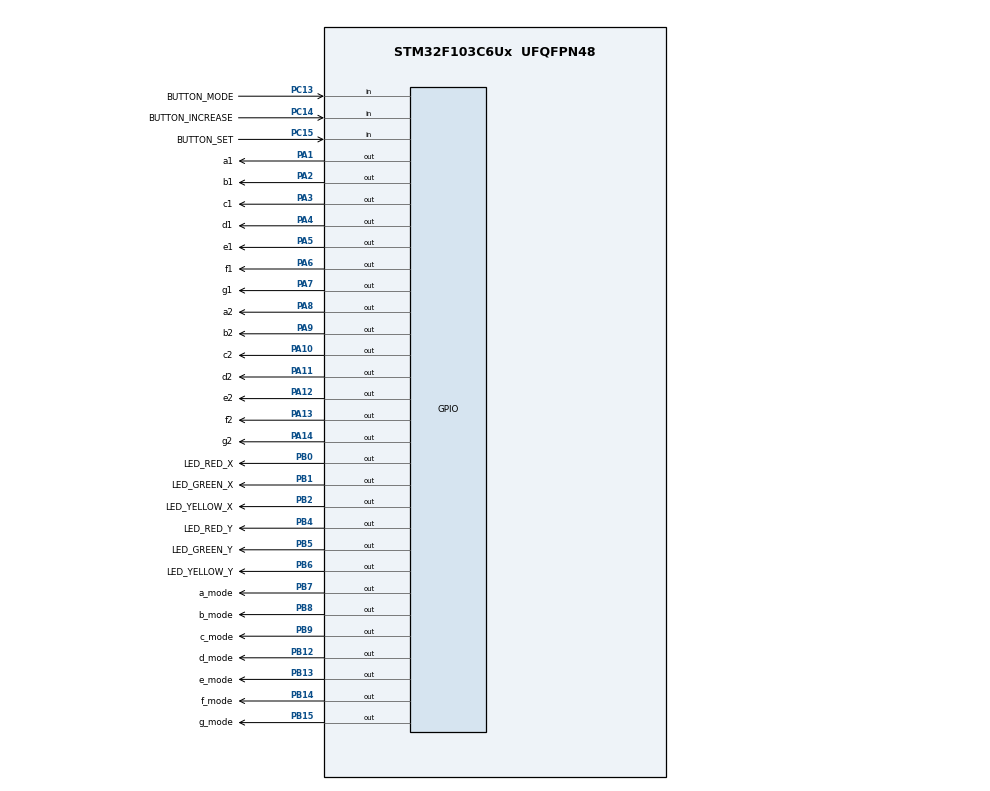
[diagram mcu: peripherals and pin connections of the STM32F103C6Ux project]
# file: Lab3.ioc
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Mcu.Family=STM32F1
Mcu.Name=STM32F103C6Ux
Mcu.Package=UFQFPN48
NVIC.PriorityGroup=NVIC_PRIORITYGROUP_4
NVIC.TIM2_IRQn=true\:0\:0\:false\:false\:true\:true\:true
PA1.GPIO_Label=a1
PA1.Signal=GPIO_Output
PA10.GPIO_Label=c2
PA10.Signal=GPIO_Output
PA11.GPIO_Label=d2
PA11.Signal=GPIO_Output
PA12.GPIO_Label=e2
PA12.Signal=GPIO_Output
PA13.GPIO_Label=f2
PA13.Signal=GPIO_Output
PA14.GPIO_Label=g2
PA14.Signal=GPIO_Output
PA2.GPIO_Label=b1
PA2.Signal=GPIO_Output
PA3.GPIO_Label=c1
PA3.Signal=GPIO_Output
PA4.GPIO_Label=d1
PA4.Signal=GPIO_Output
PA5.GPIO_Label=e1
PA5.Signal=GPIO_Output
PA6.GPIO_Label=f1
PA6.Signal=GPIO_Output
PA7.GPIO_Label=g1
PA7.Signal=GPIO_Output
PA8.GPIO_Label=a2
PA8.Signal=GPIO_Output
PA9.GPIO_Label=b2
PA9.Signal=GPIO_Output
PB0.GPIO_Label=LED_RED_X
PB0.Signal=GPIO_Output
PB1.GPIO_Label=LED_GREEN_X
PB1.Signal=GPIO_Output
PB12.GPIO_Label=d_mode
PB12.Signal=GPIO_Output
PB13.GPIO_Label=e_mode
PB13.Signal=GPIO_Output
PB14.GPIO_Label=f_mode
PB14.Signal=GPIO_Output
PB15.GPIO_Label=g_mode
PB15.Signal=GPIO_Output
PB2.GPIO_Label=LED_YELLOW_X
PB2.Signal=GPIO_Output
PB4.GPIO_Label=LED_RED_Y
PB4.Signal=GPIO_Output
PB5.GPIO_Label=LED_GREEN_Y
PB5.Signal=GPIO_Output
PB6.GPIO_Label=LED_YELLOW_Y
PB6.Signal=GPIO_Output
PB7.GPIO_Label=a_mode
PB7.Signal=GPIO_Output
PB8.GPIO_Label=b_mode
PB8.Signal=GPIO_Output
PB9.GPIO_Label=c_mode
PB9.Signal=GPIO_Output
PC13-TAMPER-RTC.GPIO_Label=BUTTON_MODE
PC13-TAMPER-RTC.GPIO_PuPd=GPIO_PULLUP
PC13-TAMPER-RTC.Signal=GPIO_Input
PC14-OSC32_IN.GPIO_Label=BUTTON_INCREASE
PC14-OSC32_IN.GPIO_PuPd=GPIO_PULLUP
PC14-OSC32_IN.Signal=GPIO_Input
PC15-OSC32_OUT.GPIO_Label=BUTTON_SET
PC15-OSC32_OUT.GPIO_PuPd=GPIO_PULLUP
PC15-OSC32_OUT.Signal=GPIO_Input
ProjectManager.HeapSize=0x200
ProjectManager.StackSize=0x400
ProjectManager.TargetToolchain=STM32CubeIDE
RCC.APB1Freq_Value=8000000
RCC.APB2Freq_Value=8000000
TIM2.Period=9
TIM2.Prescaler=7999
VP_SYS_VS_ND.Mode=No_Debug
VP_TIM2_VS_ClockSourceINT.Mode=Internal
board=custom

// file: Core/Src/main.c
/* USER CODE BEGIN Header */
/**
  ******************************************************************************
  * @file           : main.c
  * @brief          : Main program body
  ******************************************************************************
  * @attention
  *
  * <h2><center>&copy; Copyright (c) 2022 STMicroelectronics.
  * All rights reserved.</center></h2>
  *
  * This software component is licensed by ST under BSD 3-Clause license,
  * the "License"; You may not use this file except in compliance with the
  * License. You may obtain a copy of the License at:
  *                        opensource.org/licenses/BSD-3-Clause
  *
  ******************************************************************************
  */
/* USER CODE END Header */
#include "main.h"

/* USER CODE BEGIN Includes */
#include "button.h"
#include "software_timer.h"
#include "mode1.h"
#include "mode2.h"
#include "mode3.h"
#include "mode4.h"
#include "global.h"
#include "fsm.h"
/* USER CODE END Includes */

TIM_HandleTypeDef htim2;

void SystemClock_Config(void);
static void MX_GPIO_Init(void);
static void MX_TIM2_Init(void);

int main(void)
{

  /* MCU Configuration--------------------------------------------------------*/

  /* Reset of all peripherals, Initializes the Flash interface and the Systick. */
  HAL_Init();

  /* Configure the system clock */
  SystemClock_Config();

  /* Initialize all configured peripherals */
  MX_GPIO_Init();
  MX_TIM2_Init();
  /* USER CODE BEGIN 2 */
  HAL_TIM_Base_Start_IT (& htim2 ) ;
  /* USER CODE END 2 */

  /* Infinite loop */
setTimer(100);
setTimer2(50);
setTimer3(50);
setTimer4(50);
  while (1)
  {

	  fsm_run();

    /* USER CODE END WHILE */

  }
}

void SystemClock_Config(void)
{
  RCC_OscInitTypeDef RCC_OscInitStruct = {0};
  RCC_ClkInitTypeDef RCC_ClkInitStruct = {0};

  /** Initializes the RCC Oscillators according to the specified parameters
  * in the RCC_OscInitTypeDef structure.
  */
  RCC_OscInitStruct.OscillatorType = RCC_OSCILLATORTYPE_HSI;
  RCC_OscInitStruct.HSIState = RCC_HSI_ON;
  RCC_OscInitStruct.HSICalibrationValue = RCC_HSICALIBRATION_DEFAULT;
  RCC_OscInitStruct.PLL.PLLState = RCC_PLL_NONE;
  if (HAL_RCC_OscConfig(&RCC_OscInitStruct) != HAL_OK)
  {
    Error_Handler();
  }
  /** Initializes the CPU, AHB and APB buses clocks
  */
  RCC_ClkInitStruct.ClockType = RCC_CLOCKTYPE_HCLK|RCC_CLOCKTYPE_SYSCLK
                              |RCC_CLOCKTYPE_PCLK1|RCC_CLOCKTYPE_PCLK2;
  RCC_ClkInitStruct.SYSCLKSource = RCC_SYSCLKSOURCE_HSI;
  RCC_ClkInitStruct.AHBCLKDivider = RCC_SYSCLK_DIV1;
  RCC_ClkInitStruct.APB1CLKDivider = RCC_HCLK_DIV1;
  RCC_ClkInitStruct.APB2CLKDivider = RCC_HCLK_DIV1;

  if (HAL_RCC_ClockConfig(&RCC_ClkInitStruct, FLASH_LATENCY_0) != HAL_OK)
  {
    Error_Handler();
  }
}

static void MX_TIM2_Init(void)
{

  TIM_ClockConfigTypeDef sClockSourceConfig = {0};
  TIM_MasterConfigTypeDef sMasterConfig = {0};

  htim2.Instance = TIM2;
  htim2.Init.Prescaler = 7999;
  htim2.Init.CounterMode = TIM_COUNTERMODE_UP;
  htim2.Init.Period = 9;
  htim2.Init.ClockDivision = TIM_CLOCKDIVISION_DIV1;
  htim2.Init.AutoReloadPreload = TIM_AUTORELOAD_PRELOAD_DISABLE;
  if (HAL_TIM_Base_Init(&htim2) != HAL_OK)
  {
    Error_Handler();
  }
  sClockSourceConfig.ClockSource = TIM_CLOCKSOURCE_INTERNAL;
  if (HAL_TIM_ConfigClockSource(&htim2, &sClockSourceConfig) != HAL_OK)
  {
    Error_Handler();
  }
  sMasterConfig.MasterOutputTrigger = TIM_TRGO_RESET;
  sMasterConfig.MasterSlaveMode = TIM_MASTERSLAVEMODE_DISABLE;
  if (HAL_TIMEx_MasterConfigSynchronization(&htim2, &sMasterConfig) != HAL_OK)
  {
    Error_Handler();
  }

}

static void MX_GPIO_Init(void)
{
  GPIO_InitTypeDef GPIO_InitStruct = {0};

  /* GPIO Ports Clock Enable */
  __HAL_RCC_GPIOC_CLK_ENABLE();
  __HAL_RCC_GPIOA_CLK_ENABLE();
  __HAL_RCC_GPIOB_CLK_ENABLE();

  /*Configure GPIO pin Output Level */
  HAL_GPIO_WritePin(GPIOA, a1_Pin|b1_Pin|c1_Pin|d1_Pin
                          |e1_Pin|f1_Pin|g1_Pin|a2_Pin
                          |b2_Pin|c2_Pin|d2_Pin|e2_Pin
                          |f2_Pin|g2_Pin, GPIO_PIN_RESET);

  /*Configure GPIO pin Output Level */
  HAL_GPIO_WritePin(GPIOB, LED_RED_X_Pin|LED_GREEN_X_Pin|LED_YELLOW_X_Pin|d_mode_Pin
                          |e_mode_Pin|f_mode_Pin|g_mode_Pin|LED_RED_Y_Pin
                          |LED_GREEN_Y_Pin|LED_YELLOW_Y_Pin|a_mode_Pin|b_mode_Pin
                          |c_mode_Pin, GPIO_PIN_RESET);

  /*Configure GPIO pins : BUTTON_MODE_Pin BUTTON_INCREASE_Pin BUTTON_SET_Pin */
  GPIO_InitStruct.Pin = BUTTON_MODE_Pin|BUTTON_INCREASE_Pin|BUTTON_SET_Pin;
  GPIO_InitStruct.Mode = GPIO_MODE_INPUT;
  GPIO_InitStruct.Pull = GPIO_PULLUP;
  HAL_GPIO_Init(GPIOC, &GPIO_InitStruct);

  /*Configure GPIO pins : a1_Pin b1_Pin c1_Pin d1_Pin
                           e1_Pin f1_Pin g1_Pin a2_Pin
                           b2_Pin c2_Pin d2_Pin e2_Pin
                           f2_Pin g2_Pin */
  GPIO_InitStruct.Pin = a1_Pin|b1_Pin|c1_Pin|d1_Pin
                          |e1_Pin|f1_Pin|g1_Pin|a2_Pin
                          |b2_Pin|c2_Pin|d2_Pin|e2_Pin
                          |f2_Pin|g2_Pin;
  GPIO_InitStruct.Mode = GPIO_MODE_OUTPUT_PP;
  GPIO_InitStruct.Pull = GPIO_NOPULL;
  GPIO_InitStruct.Speed = GPIO_SPEED_FREQ_LOW;
  HAL_GPIO_Init(GPIOA, &GPIO_InitStruct);

  /*Configure GPIO pins : LED_RED_X_Pin LED_GREEN_X_Pin LED_YELLOW_X_Pin d_mode_Pin
                           e_mode_Pin f_mode_Pin g_mode_Pin LED_RED_Y_Pin
                           LED_GREEN_Y_Pin LED_YELLOW_Y_Pin a_mode_Pin b_mode_Pin
                           c_mode_Pin */
  GPIO_InitStruct.Pin = LED_RED_X_Pin|LED_GREEN_X_Pin|LED_YELLOW_X_Pin|d_mode_Pin
                          |e_mode_Pin|f_mode_Pin|g_mode_Pin|LED_RED_Y_Pin
                          |LED_GREEN_Y_Pin|LED_YELLOW_Y_Pin|a_mode_Pin|b_mode_Pin
                          |c_mode_Pin;
  GPIO_InitStruct.Mode = GPIO_MODE_OUTPUT_PP;
  GPIO_InitStruct.Pull = GPIO_NOPULL;
  GPIO_InitStruct.Speed = GPIO_SPEED_FREQ_LOW;
  HAL_GPIO_Init(GPIOB, &GPIO_InitStruct);

}

/* USER CODE BEGIN 4 */
void HAL_TIM_PeriodElapsedCallback ( TIM_HandleTypeDef * htim ){
timerRun();
timerRun2();
timerRun3();
timerRun4();
getKeyInput();
getKeyInput2();
getKeyInput3();
}
/* USER CODE END 4 */

void Error_Handler(void)
{
  __disable_irq();
  while (1)
  {
  }
}

/************************ (C) COPYRIGHT STMicroelectronics *****END OF FILE****/
